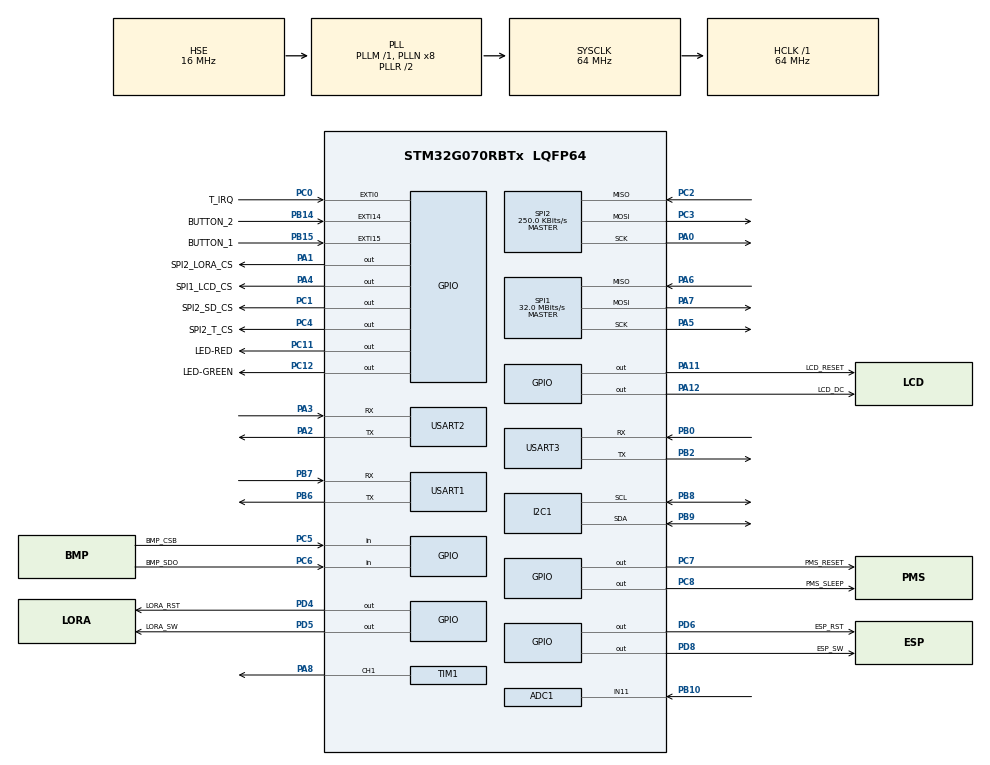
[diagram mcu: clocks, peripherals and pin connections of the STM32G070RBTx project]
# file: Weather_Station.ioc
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ADC1.Channel-1\#ChannelRegularConversion=ADC_CHANNEL_11
ADC1.NbrOfConversionFlag=1
ADC1.Rank-1\#ChannelRegularConversion=1
ADC1.SamplingTime-1\#ChannelRegularConversion=ADC_SAMPLINGTIME_COMMON_1
ADC1.SamplingTimeCommon1=ADC_SAMPLETIME_160CYCLES_5
ADC1.SamplingTimeCommon2=ADC_SAMPLETIME_160CYCLES_5
ADC1.SelectedChannel=ADC_CHANNEL_11
ADC1.master=1
Dma.Request0=USART2_RX
Dma.Request1=USART2_TX
Dma.Request2=SPI1_TX
Dma.SPI1_TX.2.Direction=DMA_MEMORY_TO_PERIPH
Dma.SPI1_TX.2.EventEnable=DISABLE
Dma.SPI1_TX.2.Instance=DMA1_Channel3
Dma.SPI1_TX.2.MemDataAlignment=DMA_MDATAALIGN_BYTE
Dma.SPI1_TX.2.MemInc=DMA_MINC_ENABLE
Dma.SPI1_TX.2.Mode=DMA_NORMAL
Dma.SPI1_TX.2.PeriphDataAlignment=DMA_PDATAALIGN_BYTE
Dma.SPI1_TX.2.PeriphInc=DMA_PINC_DISABLE
Dma.SPI1_TX.2.Polarity=HAL_DMAMUX_REQ_GEN_RISING
Dma.SPI1_TX.2.Priority=DMA_PRIORITY_LOW
Dma.SPI1_TX.2.RequestNumber=1
Dma.SPI1_TX.2.SignalID=NONE
Dma.SPI1_TX.2.SyncEnable=DISABLE
Dma.SPI1_TX.2.SyncPolarity=HAL_DMAMUX_SYNC_NO_EVENT
Dma.SPI1_TX.2.SyncRequestNumber=1
Dma.SPI1_TX.2.SyncSignalID=NONE
Dma.USART2_RX.0.Direction=DMA_PERIPH_TO_MEMORY
Dma.USART2_RX.0.EventEnable=DISABLE
Dma.USART2_RX.0.Instance=DMA1_Channel1
Dma.USART2_RX.0.MemDataAlignment=DMA_MDATAALIGN_BYTE
Dma.USART2_RX.0.MemInc=DMA_MINC_ENABLE
Dma.USART2_RX.0.Mode=DMA_NORMAL
Dma.USART2_RX.0.PeriphDataAlignment=DMA_PDATAALIGN_BYTE
Dma.USART2_RX.0.PeriphInc=DMA_PINC_DISABLE
Dma.USART2_RX.0.Polarity=HAL_DMAMUX_REQ_GEN_RISING
Dma.USART2_RX.0.Priority=DMA_PRIORITY_LOW
Dma.USART2_RX.0.RequestNumber=1
Dma.USART2_RX.0.SignalID=NONE
Dma.USART2_RX.0.SyncEnable=DISABLE
Dma.USART2_RX.0.SyncPolarity=HAL_DMAMUX_SYNC_NO_EVENT
Dma.USART2_RX.0.SyncRequestNumber=1
Dma.USART2_RX.0.SyncSignalID=NONE
Dma.USART2_TX.1.Direction=DMA_MEMORY_TO_PERIPH
Dma.USART2_TX.1.EventEnable=DISABLE
Dma.USART2_TX.1.Instance=DMA1_Channel2
Dma.USART2_TX.1.MemDataAlignment=DMA_MDATAALIGN_BYTE
Dma.USART2_TX.1.MemInc=DMA_MINC_ENABLE
Dma.USART2_TX.1.Mode=DMA_NORMAL
Dma.USART2_TX.1.PeriphDataAlignment=DMA_PDATAALIGN_BYTE
Dma.USART2_TX.1.PeriphInc=DMA_PINC_DISABLE
Dma.USART2_TX.1.Polarity=HAL_DMAMUX_REQ_GEN_RISING
Dma.USART2_TX.1.Priority=DMA_PRIORITY_LOW
Dma.USART2_TX.1.RequestNumber=1
Dma.USART2_TX.1.SignalID=NONE
Dma.USART2_TX.1.SyncEnable=DISABLE
Dma.USART2_TX.1.SyncPolarity=HAL_DMAMUX_SYNC_NO_EVENT
Dma.USART2_TX.1.SyncRequestNumber=1
Dma.USART2_TX.1.SyncSignalID=NONE
FATFS.DISKIO_CODE=0
I2C1.Timing=0x10707DBC
IWDG.Prescaler=IWDG_PRESCALER_256
Mcu.Family=STM32G0
Mcu.Name=STM32G070RBTx
Mcu.Package=LQFP64
NVIC.DMA1_Channel1_IRQn=true\:0\:0\:false\:false\:true\:false\:true\:true
NVIC.DMA1_Channel2_3_IRQn=true\:0\:0\:false\:false\:true\:false\:true\:true
NVIC.EXTI0_1_IRQn=true\:0\:0\:false\:false\:true\:true\:true\:true
NVIC.EXTI4_15_IRQn=true\:0\:0\:false\:false\:true\:true\:true\:true
NVIC.SPI1_IRQn=true\:0\:0\:false\:false\:true\:true\:true\:true
NVIC.TIM6_IRQn=true\:0\:0\:false\:false\:true\:true\:true\:true
NVIC.USART2_IRQn=true\:0\:0\:false\:false\:true\:true\:true\:true
PA0.GPIO_PuPd=GPIO_PULLUP
PA0.GPIO_Speed=GPIO_SPEED_FREQ_VERY_HIGH
PA0.Mode=Full_Duplex_Master
PA0.Signal=SPI2_SCK
PA1.GPIO_Label=SPI2_LORA_CS
PA1.Signal=GPIO_Output
PA11\ [PA9].GPIO_Label=LCD_RESET
PA11\ [PA9].Signal=GPIO_Output
PA12\ [PA10].GPIO_Label=LCD_DC
PA12\ [PA10].Signal=GPIO_Output
PA13.Mode=Serial_Wire
PA13.Signal=SYS_SWDIO
PA14-BOOT0.Mode=Serial_Wire
PA14-BOOT0.Signal=SYS_SWCLK
PA2.Mode=Asynchronous
PA2.Signal=USART2_TX
PA3.Mode=Asynchronous
PA3.Signal=USART2_RX
PA4.GPIO_Label=SPI1_LCD_CS
PA4.Signal=GPIO_Output
PA5.GPIO_PuPd=GPIO_PULLUP
PA5.GPIO_Speed=GPIO_SPEED_FREQ_VERY_HIGH
PA5.Mode=Full_Duplex_Master
PA5.Signal=SPI1_SCK
PA6.GPIO_PuPd=GPIO_PULLUP
PA6.GPIO_Speed=GPIO_SPEED_FREQ_VERY_HIGH
PA6.Mode=Full_Duplex_Master
PA6.Signal=SPI1_MISO
PA7.GPIO_PuPd=GPIO_PULLUP
PA7.GPIO_Speed=GPIO_SPEED_FREQ_VERY_HIGH
PA7.Mode=Full_Duplex_Master
PA7.Signal=SPI1_MOSI
PA8.Signal=S_TIM1_CH1
PB0.Mode=Asynchronous
PB0.Signal=USART3_RX
PB10.Mode=IN11
PB10.Signal=ADC1_IN11
PB14.GPIO_Label=BUTTON_2
PB14.GPIO_ModeDefaultEXTI=GPIO_MODE_IT_FALLING
PB14.Signal=GPXTI14
PB15.GPIO_Label=BUTTON_1
PB15.GPIO_ModeDefaultEXTI=GPIO_MODE_IT_FALLING
PB15.Signal=GPXTI15
PB2.Mode=Asynchronous
PB2.Signal=USART3_TX
PB6.Mode=Asynchronous
PB6.Signal=USART1_TX
PB7.Mode=Asynchronous
PB7.Signal=USART1_RX
PB8.Mode=I2C
PB8.Signal=I2C1_SCL
PB9.Mode=I2C
PB9.Signal=I2C1_SDA
PC0.GPIO_Label=T_IRQ
PC0.Signal=GPXTI0
PC1.GPIO_Label=SPI2_SD_CS
PC1.Signal=GPIO_Output
PC11.GPIO_Label=LED-RED
PC11.Signal=GPIO_Output
PC12.GPIO_Label=LED-GREEN
PC12.Signal=GPIO_Output
PC14-OSC32_IN\ (PC14).Mode=LSE-External-Oscillator
PC14-OSC32_IN\ (PC14).Signal=RCC_OSC32_IN
PC15-OSC32_OUT\ (PC15).Mode=LSE-External-Oscillator
PC15-OSC32_OUT\ (PC15).Signal=RCC_OSC32_OUT
PC2.GPIO_PuPd=GPIO_PULLUP
PC2.GPIO_Speed=GPIO_SPEED_FREQ_VERY_HIGH
PC2.Mode=Full_Duplex_Master
PC2.Signal=SPI2_MISO
PC3.GPIO_PuPd=GPIO_PULLUP
PC3.GPIO_Speed=GPIO_SPEED_FREQ_VERY_HIGH
PC3.Mode=Full_Duplex_Master
PC3.Signal=SPI2_MOSI
PC4.GPIO_Label=SPI2_T_CS
PC4.Signal=GPIO_Output
PC5.GPIO_Label=BMP_CSB
PC5.Signal=GPIO_Input
PC6.GPIO_Label=BMP_SDO
PC6.Signal=GPIO_Input
PC7.GPIO_Label=PMS_RESET
PC7.Signal=GPIO_Output
PC8.GPIO_Label=PMS_SLEEP
PC8.Signal=GPIO_Output
PD4.GPIO_Label=LORA_RST
PD4.Signal=GPIO_Output
PD5.GPIO_Label=LORA_SW
PD5.Signal=GPIO_Output
PD6.GPIO_Label=ESP_RST
PD6.Signal=GPIO_Output
PD8.GPIO_Label=ESP_SW
PD8.Signal=GPIO_Output
PF0-OSC_IN\ (PF0).Mode=HSE-External-Oscillator
PF0-OSC_IN\ (PF0).Signal=RCC_OSC_IN
PF1-OSC_OUT\ (PF1).Mode=HSE-External-Oscillator
PF1-OSC_OUT\ (PF1).Signal=RCC_OSC_OUT
ProjectManager.HeapSize=0x200
ProjectManager.StackSize=0x400
ProjectManager.TargetToolchain=STM32CubeIDE
RCC.ADCFreq_Value=64000000
RCC.AHBFreq_Value=64000000
RCC.CortexFreq_Value=64000000
RCC.EXTERNAL_CLOCK_VALUE=48000
RCC.HCLKFreq_Value=64000000
RCC.HSE_VALUE=16000000
RCC.HSI_VALUE=16000000
RCC.PLLSourceVirtual=RCC_PLLSOURCE_HSE
RCC.RTCClockSelection=RCC_RTCCLKSOURCE_LSE
RCC.SYSCLKFreq_VALUE=64000000
RCC.SYSCLKSource=RCC_SYSCLKSOURCE_PLLCLK
RCC.VCOOutputFreq_Value=128000000
RTC.Date=7
RTC.Format=RTC_FORMAT_BIN
RTC.Hours=18
RTC.Minutes=10
RTC.Month=RTC_MONTH_JANUARY
RTC.Seconds=20
RTC.WeekDay=RTC_WEEKDAY_SATURDAY
RTC.Year=23
SH.S_TIM1_CH1.0=TIM1_CH1,PWM Generation1 CH1
SPI1.BaudRatePrescaler=SPI_BAUDRATEPRESCALER_2
SPI1.CalculateBaudRate=32.0 MBits/s
SPI1.DataSize=SPI_DATASIZE_8BIT
SPI1.Direction=SPI_DIRECTION_2LINES
SPI1.Mode=SPI_MODE_MASTER
SPI1.NSSPMode=SPI_NSS_PULSE_DISABLE
SPI1.VirtualType=VM_MASTER
SPI2.BaudRatePrescaler=SPI_BAUDRATEPRESCALER_256
SPI2.CalculateBaudRate=250.0 KBits/s
SPI2.DataSize=SPI_DATASIZE_8BIT
SPI2.Direction=SPI_DIRECTION_2LINES
SPI2.Mode=SPI_MODE_MASTER
SPI2.VirtualType=VM_MASTER
TIM1.Channel-PWM\ Generation1\ CH1=TIM_CHANNEL_1
TIM1.Period=1000-1
TIM1.Prescaler=64-1
TIM1.Pulse-PWM\ Generation1\ CH1=60
TIM6.Period=99
TIM6.Prescaler=639
USART1.VirtualMode-Asynchronous=VM_ASYNC
USART2.SwapParam=ADVFEATURE_SWAP_DISABLE
USART2.VirtualMode-Asynchronous=VM_ASYNC
USART3.VirtualMode-Asynchronous=VM_ASYNC
VP_FATFS_VS_Generic.Mode=User_defined
VP_IWDG_VS_IWDG.Mode=IWDG_Activate
VP_RTC_VS_RTC_Activate.Mode=RTC_Enabled
VP_RTC_VS_RTC_Calendar.Mode=RTC_Calendar
VP_TIM1_VS_ClockSourceINT.Mode=Internal
VP_TIM6_VS_ClockSourceINT.Mode=Enable_Timer
board=custom

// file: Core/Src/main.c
/* USER CODE BEGIN Header */
/**
 ******************************************************************************
 * @file           : main.c
 * @brief          : Main program body
 ******************************************************************************
 * @attention
 *
 * Copyright (c) 2022 STMicroelectronics.
 * All rights reserved.
 *
 * This software is licensed under terms that can be found in the LICENSE file
 * in the root directory of this software component.
 * If no LICENSE file comes with this software, it is provided AS-IS.
 *
 ******************************************************************************
 */
/* USER CODE END Header */
#include "main.h"
#include "app_fatfs.h"

/* USER CODE BEGIN Includes */

#include "string.h"
#include "LCDFrontend.h"
#include "JSONParseSimple.h"
#include "SoftwareTimers.h"
#include "InsideSensor.h"
#include "ESP8266.h"
#include "OpenWeatherData.h"
#include "DateAndTime.h"
#include "LCDBrightness.h"
#include "SDCardIcon.h"
#include "ILI9341_STM32_Driver.h"
#include "ILI9341_GFX.h"
#include "SystemState.h"
#include "ESP8266Config.h"
#include "SDCardConfig.h"
#include "ESP8266_NTP.h"

/* USER CODE END Includes */

ADC_HandleTypeDef hadc1;

I2C_HandleTypeDef hi2c1;

IWDG_HandleTypeDef hiwdg;

RTC_HandleTypeDef hrtc;

SPI_HandleTypeDef hspi1;
SPI_HandleTypeDef hspi2;
DMA_HandleTypeDef hdma_spi1_tx;

TIM_HandleTypeDef htim1;
TIM_HandleTypeDef htim6;

UART_HandleTypeDef huart1;
UART_HandleTypeDef huart2;
UART_HandleTypeDef huart3;
DMA_HandleTypeDef hdma_usart2_rx;
DMA_HandleTypeDef hdma_usart2_tx;

/* USER CODE BEGIN PV */

SoftwareTimer InsideSensorTimer = { 0 };
SoftwareTimer LCDFrontendTimer = { 0 };
SoftwareTimer ESPStepErrorTimer = { 0 };
SoftwareTimer RTCPeriodTimer = { 0 };
SoftwareTimer LCDBrightnessTimer = { 0 };
SoftwareTimer FotoSensorTimer = { 0 };
SoftwareTimer ESPGetDataTimer = { 0 };

SoftwareTimer LCDDebugTimer = { 0 };

/* USER CODE END PV */

void SystemClock_Config(void);
static void MX_GPIO_Init(void);
static void MX_DMA_Init(void);
static void MX_ADC1_Init(void);
static void MX_I2C1_Init(void);
static void MX_SPI1_Init(void);
static void MX_SPI2_Init(void);
static void MX_USART1_UART_Init(void);
static void MX_USART2_UART_Init(void);
static void MX_USART3_UART_Init(void);
static void MX_TIM6_Init(void);
static void MX_RTC_Init(void);
static void MX_TIM1_Init(void);
static void MX_IWDG_Init(void);

int main(void)
{

  /* MCU Configuration--------------------------------------------------------*/

  /* Reset of all peripherals, Initializes the Flash interface and the Systick. */
  HAL_Init();

  /* Configure the system clock */
  SystemClock_Config();

  /* Initialize all configured peripherals */
  MX_GPIO_Init();
  MX_DMA_Init();
  MX_ADC1_Init();
  MX_I2C1_Init();
  MX_SPI1_Init();
  MX_SPI2_Init();
  MX_USART1_UART_Init();
  MX_USART2_UART_Init();
  MX_USART3_UART_Init();
  MX_TIM6_Init();
  MX_RTC_Init();
  MX_TIM1_Init();
  if (MX_FATFS_Init() != APP_OK) {
    Error_Handler();
  }
  MX_IWDG_Init();
  /* USER CODE BEGIN 2 */
    SoftwareTimer_Init();
    ESP8266_Init();
    LCDBrightness_Init();
    InsideSensor_Init();
    LCDFrontend_Init();
    SDCardConfig_Init();

    StartAndResetTimer(&InsideSensorTimer);
    StartAndResetTimer(&LCDFrontendTimer);
    StartAndResetTimer(&RTCPeriodTimer);
    StartAndResetTimer(&LCDBrightnessTimer);
    StartAndResetTimer(&FotoSensorTimer);
    StartAndResetTimer(&ESPGetDataTimer);
    StartAndResetTimer(&LCDDebugTimer);

    ESP8266NTP_SetTimeRequestFlag(FLAG_SET);
    InsideSensor_ExternalMeasRequest();

    HAL_GPIO_WritePin(SPI2_T_CS_GPIO_Port, SPI2_T_CS_Pin, GPIO_PIN_SET);
    __HAL_DMA_DISABLE_IT(&hdma_usart2_rx, DMA_IT_HT);
    __HAL_UART_ENABLE_IT(&huart2, UART_IT_IDLE);

  /* USER CODE END 2 */

  /* Infinite loop */
  /* USER CODE BEGIN WHILE */
    while(1)
    {
        HAL_IWDG_Refresh(&hiwdg);
        if(SystemState_GetState() == SYSTEM_NORMAL)
        {
            CheckActualDateAfterRestart();
            ReadDateAndTime(&RTCPeriodTimer);
            InsideSensor_IndoorMeasurement(&InsideSensorTimer);
            LCDFrontend_DrawInterface(&LCDFrontendTimer);
            ESP8266_MachineState(&ESPGetDataTimer, &ESPStepErrorTimer, &LCDDebugTimer);
            LCDBrightness_BrightnessControl(&LCDBrightnessTimer);
            LCDBrigtness_LightSensorMeas(&FotoSensorTimer);
            HAL_GPIO_WritePin(LED_GREEN_GPIO_Port, LED_GREEN_Pin, GPIO_PIN_RESET);
        }
        else if(SystemState_GetState() == SYSTEM_CONFIG)
        {
            LCDFrontend_DrawConfigInterface(&LCDFrontendTimer);
            ESP8266Config_MachineState(&ESPGetDataTimer, &ESPStepErrorTimer, &LCDDebugTimer);
            LCDBrightness_BrightnessControl(&LCDBrightnessTimer);
            LCDBrigtness_LightSensorMeas(&FotoSensorTimer);
            HAL_GPIO_WritePin(LED_GREEN_GPIO_Port, LED_GREEN_Pin, GPIO_PIN_SET);
        }
    /* USER CODE END WHILE */

    }
}

void SystemClock_Config(void)
{
  RCC_OscInitTypeDef RCC_OscInitStruct = {0};
  RCC_ClkInitTypeDef RCC_ClkInitStruct = {0};

  /** Configure the main internal regulator output voltage
  */
  HAL_PWREx_ControlVoltageScaling(PWR_REGULATOR_VOLTAGE_SCALE1);

  /** Configure LSE Drive Capability
  */
  HAL_PWR_EnableBkUpAccess();
  __HAL_RCC_LSEDRIVE_CONFIG(RCC_LSEDRIVE_LOW);

  /** Initializes the RCC Oscillators according to the specified parameters
  * in the RCC_OscInitTypeDef structure.
  */
  RCC_OscInitStruct.OscillatorType = RCC_OSCILLATORTYPE_LSI|RCC_OSCILLATORTYPE_HSE
                              |RCC_OSCILLATORTYPE_LSE;
  RCC_OscInitStruct.HSEState = RCC_HSE_ON;
  RCC_OscInitStruct.LSEState = RCC_LSE_ON;
  RCC_OscInitStruct.LSIState = RCC_LSI_ON;
  RCC_OscInitStruct.PLL.PLLState = RCC_PLL_ON;
  RCC_OscInitStruct.PLL.PLLSource = RCC_PLLSOURCE_HSE;
  RCC_OscInitStruct.PLL.PLLM = RCC_PLLM_DIV1;
  RCC_OscInitStruct.PLL.PLLN = 8;
  RCC_OscInitStruct.PLL.PLLP = RCC_PLLP_DIV2;
  RCC_OscInitStruct.PLL.PLLR = RCC_PLLR_DIV2;
  if (HAL_RCC_OscConfig(&RCC_OscInitStruct) != HAL_OK)
  {
    Error_Handler();
  }

  /** Initializes the CPU, AHB and APB buses clocks
  */
  RCC_ClkInitStruct.ClockType = RCC_CLOCKTYPE_HCLK|RCC_CLOCKTYPE_SYSCLK
                              |RCC_CLOCKTYPE_PCLK1;
  RCC_ClkInitStruct.SYSCLKSource = RCC_SYSCLKSOURCE_PLLCLK;
  RCC_ClkInitStruct.AHBCLKDivider = RCC_SYSCLK_DIV1;
  RCC_ClkInitStruct.APB1CLKDivider = RCC_HCLK_DIV1;

  if (HAL_RCC_ClockConfig(&RCC_ClkInitStruct, FLASH_LATENCY_2) != HAL_OK)
  {
    Error_Handler();
  }
}

static void MX_ADC1_Init(void)
{

  ADC_ChannelConfTypeDef sConfig = {0};

  /** Configure the global features of the ADC (Clock, Resolution, Data Alignment and number of conversion)
  */
  hadc1.Instance = ADC1;
  hadc1.Init.ClockPrescaler = ADC_CLOCK_SYNC_PCLK_DIV2;
  hadc1.Init.Resolution = ADC_RESOLUTION_12B;
  hadc1.Init.DataAlign = ADC_DATAALIGN_RIGHT;
  hadc1.Init.ScanConvMode = ADC_SCAN_DISABLE;
  hadc1.Init.EOCSelection = ADC_EOC_SINGLE_CONV;
  hadc1.Init.LowPowerAutoWait = DISABLE;
  hadc1.Init.LowPowerAutoPowerOff = DISABLE;
  hadc1.Init.ContinuousConvMode = DISABLE;
  hadc1.Init.NbrOfConversion = 1;
  hadc1.Init.DiscontinuousConvMode = DISABLE;
  hadc1.Init.ExternalTrigConv = ADC_SOFTWARE_START;
  hadc1.Init.ExternalTrigConvEdge = ADC_EXTERNALTRIGCONVEDGE_NONE;
  hadc1.Init.DMAContinuousRequests = DISABLE;
  hadc1.Init.Overrun = ADC_OVR_DATA_PRESERVED;
  hadc1.Init.SamplingTimeCommon1 = ADC_SAMPLETIME_160CYCLES_5;
  hadc1.Init.SamplingTimeCommon2 = ADC_SAMPLETIME_160CYCLES_5;
  hadc1.Init.OversamplingMode = DISABLE;
  hadc1.Init.TriggerFrequencyMode = ADC_TRIGGER_FREQ_HIGH;
  if (HAL_ADC_Init(&hadc1) != HAL_OK)
  {
    Error_Handler();
  }

  /** Configure Regular Channel
  */
  sConfig.Channel = ADC_CHANNEL_11;
  sConfig.Rank = ADC_REGULAR_RANK_1;
  sConfig.SamplingTime = ADC_SAMPLINGTIME_COMMON_1;
  if (HAL_ADC_ConfigChannel(&hadc1, &sConfig) != HAL_OK)
  {
    Error_Handler();
  }

}

static void MX_I2C1_Init(void)
{

  hi2c1.Instance = I2C1;
  hi2c1.Init.Timing = 0x10707DBC;
  hi2c1.Init.OwnAddress1 = 0;
  hi2c1.Init.AddressingMode = I2C_ADDRESSINGMODE_7BIT;
  hi2c1.Init.DualAddressMode = I2C_DUALADDRESS_DISABLE;
  hi2c1.Init.OwnAddress2 = 0;
  hi2c1.Init.OwnAddress2Masks = I2C_OA2_NOMASK;
  hi2c1.Init.GeneralCallMode = I2C_GENERALCALL_DISABLE;
  hi2c1.Init.NoStretchMode = I2C_NOSTRETCH_DISABLE;
  if (HAL_I2C_Init(&hi2c1) != HAL_OK)
  {
    Error_Handler();
  }

  /** Configure Analogue filter
  */
  if (HAL_I2CEx_ConfigAnalogFilter(&hi2c1, I2C_ANALOGFILTER_ENABLE) != HAL_OK)
  {
    Error_Handler();
  }

  /** Configure Digital filter
  */
  if (HAL_I2CEx_ConfigDigitalFilter(&hi2c1, 0) != HAL_OK)
  {
    Error_Handler();
  }

}

static void MX_IWDG_Init(void)
{

  hiwdg.Instance = IWDG;
  hiwdg.Init.Prescaler = IWDG_PRESCALER_256;
  hiwdg.Init.Window = 4095;
  hiwdg.Init.Reload = 4095;
  if (HAL_IWDG_Init(&hiwdg) != HAL_OK)
  {
    Error_Handler();
  }

}

static void MX_RTC_Init(void)
{

  RTC_TimeTypeDef sTime = {0};
  RTC_DateTypeDef sDate = {0};

  /** Initialize RTC Only
  */
  hrtc.Instance = RTC;
  hrtc.Init.HourFormat = RTC_HOURFORMAT_24;
  hrtc.Init.AsynchPrediv = 127;
  hrtc.Init.SynchPrediv = 255;
  hrtc.Init.OutPut = RTC_OUTPUT_DISABLE;
  hrtc.Init.OutPutRemap = RTC_OUTPUT_REMAP_NONE;
  hrtc.Init.OutPutPolarity = RTC_OUTPUT_POLARITY_HIGH;
  hrtc.Init.OutPutType = RTC_OUTPUT_TYPE_OPENDRAIN;
  hrtc.Init.OutPutPullUp = RTC_OUTPUT_PULLUP_NONE;
  if (HAL_RTC_Init(&hrtc) != HAL_OK)
  {
    Error_Handler();
  }

  /* USER CODE BEGIN Check_RTC_BKUP */
    //RestoreDateFromBackupRegister();
    return;

  /* USER CODE END Check_RTC_BKUP */

  /** Initialize RTC and set the Time and Date
  */
  sTime.Hours = 18;
  sTime.Minutes = 10;
  sTime.Seconds = 20;
  sTime.SubSeconds = 0;
  sTime.DayLightSaving = RTC_DAYLIGHTSAVING_NONE;
  sTime.StoreOperation = RTC_STOREOPERATION_RESET;
  if (HAL_RTC_SetTime(&hrtc, &sTime, RTC_FORMAT_BIN) != HAL_OK)
  {
    Error_Handler();
  }
  sDate.WeekDay = RTC_WEEKDAY_SATURDAY;
  sDate.Month = RTC_MONTH_JANUARY;
  sDate.Date = 7;
  sDate.Year = 23;

  if (HAL_RTC_SetDate(&hrtc, &sDate, RTC_FORMAT_BIN) != HAL_OK)
  {
    Error_Handler();
  }

}

static void MX_SPI1_Init(void)
{

  /* SPI1 parameter configuration*/
  hspi1.Instance = SPI1;
  hspi1.Init.Mode = SPI_MODE_MASTER;
  hspi1.Init.Direction = SPI_DIRECTION_2LINES;
  hspi1.Init.DataSize = SPI_DATASIZE_8BIT;
  hspi1.Init.CLKPolarity = SPI_POLARITY_LOW;
  hspi1.Init.CLKPhase = SPI_PHASE_1EDGE;
  hspi1.Init.NSS = SPI_NSS_SOFT;
  hspi1.Init.BaudRatePrescaler = SPI_BAUDRATEPRESCALER_2;
  hspi1.Init.FirstBit = SPI_FIRSTBIT_MSB;
  hspi1.Init.TIMode = SPI_TIMODE_DISABLE;
  hspi1.Init.CRCCalculation = SPI_CRCCALCULATION_DISABLE;
  hspi1.Init.CRCPolynomial = 7;
  hspi1.Init.CRCLength = SPI_CRC_LENGTH_DATASIZE;
  hspi1.Init.NSSPMode = SPI_NSS_PULSE_DISABLE;
  if (HAL_SPI_Init(&hspi1) != HAL_OK)
  {
    Error_Handler();
  }

}

static void MX_SPI2_Init(void)
{

  /* SPI2 parameter configuration*/
  hspi2.Instance = SPI2;
  hspi2.Init.Mode = SPI_MODE_MASTER;
  hspi2.Init.Direction = SPI_DIRECTION_2LINES;
  hspi2.Init.DataSize = SPI_DATASIZE_8BIT;
  hspi2.Init.CLKPolarity = SPI_POLARITY_LOW;
  hspi2.Init.CLKPhase = SPI_PHASE_1EDGE;
  hspi2.Init.NSS = SPI_NSS_SOFT;
  hspi2.Init.BaudRatePrescaler = SPI_BAUDRATEPRESCALER_256;
  hspi2.Init.FirstBit = SPI_FIRSTBIT_MSB;
  hspi2.Init.TIMode = SPI_TIMODE_DISABLE;
  hspi2.Init.CRCCalculation = SPI_CRCCALCULATION_DISABLE;
  hspi2.Init.CRCPolynomial = 7;
  hspi2.Init.CRCLength = SPI_CRC_LENGTH_DATASIZE;
  hspi2.Init.NSSPMode = SPI_NSS_PULSE_ENABLE;
  if (HAL_SPI_Init(&hspi2) != HAL_OK)
  {
    Error_Handler();
  }

}

static void MX_TIM1_Init(void)
{

  TIM_ClockConfigTypeDef sClockSourceConfig = {0};
  TIM_MasterConfigTypeDef sMasterConfig = {0};
  TIM_OC_InitTypeDef sConfigOC = {0};
  TIM_BreakDeadTimeConfigTypeDef sBreakDeadTimeConfig = {0};

  htim1.Instance = TIM1;
  htim1.Init.Prescaler = 64-1;
  htim1.Init.CounterMode = TIM_COUNTERMODE_UP;
  htim1.Init.Period = 1000-1;
  htim1.Init.ClockDivision = TIM_CLOCKDIVISION_DIV1;
  htim1.Init.RepetitionCounter = 0;
  htim1.Init.AutoReloadPreload = TIM_AUTORELOAD_PRELOAD_DISABLE;
  if (HAL_TIM_Base_Init(&htim1) != HAL_OK)
  {
    Error_Handler();
  }
  sClockSourceConfig.ClockSource = TIM_CLOCKSOURCE_INTERNAL;
  if (HAL_TIM_ConfigClockSource(&htim1, &sClockSourceConfig) != HAL_OK)
  {
    Error_Handler();
  }
  if (HAL_TIM_PWM_Init(&htim1) != HAL_OK)
  {
    Error_Handler();
  }
  sMasterConfig.MasterOutputTrigger = TIM_TRGO_RESET;
  sMasterConfig.MasterOutputTrigger2 = TIM_TRGO2_RESET;
  sMasterConfig.MasterSlaveMode = TIM_MASTERSLAVEMODE_DISABLE;
  if (HAL_TIMEx_MasterConfigSynchronization(&htim1, &sMasterConfig) != HAL_OK)
  {
    Error_Handler();
  }
  sConfigOC.OCMode = TIM_OCMODE_PWM1;
  sConfigOC.Pulse = 60;
  sConfigOC.OCPolarity = TIM_OCPOLARITY_HIGH;
  sConfigOC.OCNPolarity = TIM_OCNPOLARITY_HIGH;
  sConfigOC.OCFastMode = TIM_OCFAST_DISABLE;
  sConfigOC.OCIdleState = TIM_OCIDLESTATE_RESET;
  sConfigOC.OCNIdleState = TIM_OCNIDLESTATE_RESET;
  if (HAL_TIM_PWM_ConfigChannel(&htim1, &sConfigOC, TIM_CHANNEL_1) != HAL_OK)
  {
    Error_Handler();
  }
  sBreakDeadTimeConfig.OffStateRunMode = TIM_OSSR_DISABLE;
  sBreakDeadTimeConfig.OffStateIDLEMode = TIM_OSSI_DISABLE;
  sBreakDeadTimeConfig.LockLevel = TIM_LOCKLEVEL_OFF;
  sBreakDeadTimeConfig.DeadTime = 0;
  sBreakDeadTimeConfig.BreakState = TIM_BREAK_DISABLE;
  sBreakDeadTimeConfig.BreakPolarity = TIM_BREAKPOLARITY_HIGH;
  sBreakDeadTimeConfig.BreakFilter = 0;
  sBreakDeadTimeConfig.BreakAFMode = TIM_BREAK_AFMODE_INPUT;
  sBreakDeadTimeConfig.Break2State = TIM_BREAK2_DISABLE;
  sBreakDeadTimeConfig.Break2Polarity = TIM_BREAK2POLARITY_HIGH;
  sBreakDeadTimeConfig.Break2Filter = 0;
  sBreakDeadTimeConfig.Break2AFMode = TIM_BREAK_AFMODE_INPUT;
  sBreakDeadTimeConfig.AutomaticOutput = TIM_AUTOMATICOUTPUT_DISABLE;
  if (HAL_TIMEx_ConfigBreakDeadTime(&htim1, &sBreakDeadTimeConfig) != HAL_OK)
  {
    Error_Handler();
  }
  HAL_TIM_MspPostInit(&htim1);

}

static void MX_TIM6_Init(void)
{

  TIM_MasterConfigTypeDef sMasterConfig = {0};

  htim6.Instance = TIM6;
  htim6.Init.Prescaler = 639;
  htim6.Init.CounterMode = TIM_COUNTERMODE_UP;
  htim6.Init.Period = 99;
  htim6.Init.AutoReloadPreload = TIM_AUTORELOAD_PRELOAD_DISABLE;
  if (HAL_TIM_Base_Init(&htim6) != HAL_OK)
  {
    Error_Handler();
  }
  sMasterConfig.MasterOutputTrigger = TIM_TRGO_RESET;
  sMasterConfig.MasterSlaveMode = TIM_MASTERSLAVEMODE_DISABLE;
  if (HAL_TIMEx_MasterConfigSynchronization(&htim6, &sMasterConfig) != HAL_OK)
  {
    Error_Handler();
  }

}

static void MX_USART1_UART_Init(void)
{

  huart1.Instance = USART1;
  huart1.Init.BaudRate = 115200;
  huart1.Init.WordLength = UART_WORDLENGTH_8B;
  huart1.Init.StopBits = UART_STOPBITS_1;
  huart1.Init.Parity = UART_PARITY_NONE;
  huart1.Init.Mode = UART_MODE_TX_RX;
  huart1.Init.HwFlowCtl = UART_HWCONTROL_NONE;
  huart1.Init.OverSampling = UART_OVERSAMPLING_16;
  huart1.Init.OneBitSampling = UART_ONE_BIT_SAMPLE_DISABLE;
  huart1.Init.ClockPrescaler = UART_PRESCALER_DIV1;
  huart1.AdvancedInit.AdvFeatureInit = UART_ADVFEATURE_NO_INIT;
  if (HAL_UART_Init(&huart1) != HAL_OK)
  {
    Error_Handler();
  }
  if (HAL_UARTEx_SetTxFifoThreshold(&huart1, UART_TXFIFO_THRESHOLD_1_8) != HAL_OK)
  {
    Error_Handler();
  }
  if (HAL_UARTEx_SetRxFifoThreshold(&huart1, UART_RXFIFO_THRESHOLD_1_8) != HAL_OK)
  {
    Error_Handler();
  }
  if (HAL_UARTEx_DisableFifoMode(&huart1) != HAL_OK)
  {
    Error_Handler();
  }

}

static void MX_USART2_UART_Init(void)
{

  huart2.Instance = USART2;
  huart2.Init.BaudRate = 115200;
  huart2.Init.WordLength = UART_WORDLENGTH_8B;
  huart2.Init.StopBits = UART_STOPBITS_1;
  huart2.Init.Parity = UART_PARITY_NONE;
  huart2.Init.Mode = UART_MODE_TX_RX;
  huart2.Init.HwFlowCtl = UART_HWCONTROL_NONE;
  huart2.Init.OverSampling = UART_OVERSAMPLING_16;
  huart2.Init.OneBitSampling = UART_ONE_BIT_SAMPLE_DISABLE;
  huart2.Init.ClockPrescaler = UART_PRESCALER_DIV1;
  huart2.AdvancedInit.AdvFeatureInit = UART_ADVFEATURE_NO_INIT;
  if (HAL_UART_Init(&huart2) != HAL_OK)
  {
    Error_Handler();
  }
  if (HAL_UARTEx_SetTxFifoThreshold(&huart2, UART_TXFIFO_THRESHOLD_1_8) != HAL_OK)
  {
    Error_Handler();
  }
  if (HAL_UARTEx_SetRxFifoThreshold(&huart2, UART_RXFIFO_THRESHOLD_1_8) != HAL_OK)
  {
    Error_Handler();
  }
  if (HAL_UARTEx_DisableFifoMode(&huart2) != HAL_OK)
  {
    Error_Handler();
  }

}

static void MX_USART3_UART_Init(void)
{

  huart3.Instance = USART3;
  huart3.Init.BaudRate = 115200;
  huart3.Init.WordLength = UART_WORDLENGTH_8B;
  huart3.Init.StopBits = UART_STOPBITS_1;
  huart3.Init.Parity = UART_PARITY_NONE;
  huart3.Init.Mode = UART_MODE_TX_RX;
  huart3.Init.HwFlowCtl = UART_HWCONTROL_NONE;
  huart3.Init.OverSampling = UART_OVERSAMPLING_16;
  huart3.Init.OneBitSampling = UART_ONE_BIT_SAMPLE_DISABLE;
  huart3.Init.ClockPrescaler = UART_PRESCALER_DIV1;
  huart3.AdvancedInit.AdvFeatureInit = UART_ADVFEATURE_NO_INIT;
  if (HAL_UART_Init(&huart3) != HAL_OK)
  {
    Error_Handler();
  }

}

static void MX_DMA_Init(void)
{

  /* DMA controller clock enable */
  __HAL_RCC_DMA1_CLK_ENABLE();

  /* DMA interrupt init */
  /* DMA1_Channel1_IRQn interrupt configuration */
  HAL_NVIC_SetPriority(DMA1_Channel1_IRQn, 0, 0);
  HAL_NVIC_EnableIRQ(DMA1_Channel1_IRQn);
  /* DMA1_Channel2_3_IRQn interrupt configuration */
  HAL_NVIC_SetPriority(DMA1_Channel2_3_IRQn, 0, 0);
  HAL_NVIC_EnableIRQ(DMA1_Channel2_3_IRQn);

}

static void MX_GPIO_Init(void)
{
  GPIO_InitTypeDef GPIO_InitStruct = {0};

  /* GPIO Ports Clock Enable */
  __HAL_RCC_GPIOC_CLK_ENABLE();
  __HAL_RCC_GPIOF_CLK_ENABLE();
  __HAL_RCC_GPIOA_CLK_ENABLE();
  __HAL_RCC_GPIOB_CLK_ENABLE();
  __HAL_RCC_GPIOD_CLK_ENABLE();

  /*Configure GPIO pin Output Level */
  HAL_GPIO_WritePin(GPIOC, LED_RED_Pin|LED_GREEN_Pin|SPI2_SD_CS_Pin|SPI2_T_CS_Pin
                          |PMS_RESET_Pin|PMS_SLEEP_Pin, GPIO_PIN_RESET);

  /*Configure GPIO pin Output Level */
  HAL_GPIO_WritePin(GPIOA, SPI2_LORA_CS_Pin|SPI1_LCD_CS_Pin|LCD_RESET_Pin|LCD_DC_Pin, GPIO_PIN_RESET);

  /*Configure GPIO pin Output Level */
  HAL_GPIO_WritePin(GPIOD, ESP_SW_Pin|LORA_RST_Pin|LORA_SW_Pin|ESP_RST_Pin, GPIO_PIN_RESET);

  /*Configure GPIO pins : LED_RED_Pin LED_GREEN_Pin SPI2_SD_CS_Pin SPI2_T_CS_Pin
                           PMS_RESET_Pin PMS_SLEEP_Pin */
  GPIO_InitStruct.Pin = LED_RED_Pin|LED_GREEN_Pin|SPI2_SD_CS_Pin|SPI2_T_CS_Pin
                          |PMS_RESET_Pin|PMS_SLEEP_Pin;
  GPIO_InitStruct.Mode = GPIO_MODE_OUTPUT_PP;
  GPIO_InitStruct.Pull = GPIO_NOPULL;
  GPIO_InitStruct.Speed = GPIO_SPEED_FREQ_LOW;
  HAL_GPIO_Init(GPIOC, &GPIO_InitStruct);

  /*Configure GPIO pin : T_IRQ_Pin */
  GPIO_InitStruct.Pin = T_IRQ_Pin;
  GPIO_InitStruct.Mode = GPIO_MODE_IT_RISING;
  GPIO_InitStruct.Pull = GPIO_NOPULL;
  HAL_GPIO_Init(T_IRQ_GPIO_Port, &GPIO_InitStruct);

  /*Configure GPIO pins : SPI2_LORA_CS_Pin SPI1_LCD_CS_Pin LCD_RESET_Pin LCD_DC_Pin */
  GPIO_InitStruct.Pin = SPI2_LORA_CS_Pin|SPI1_LCD_CS_Pin|LCD_RESET_Pin|LCD_DC_Pin;
  GPIO_InitStruct.Mode = GPIO_MODE_OUTPUT_PP;
  GPIO_InitStruct.Pull = GPIO_NOPULL;
  GPIO_InitStruct.Speed = GPIO_SPEED_FREQ_LOW;
  HAL_GPIO_Init(GPIOA, &GPIO_InitStruct);

  /*Configure GPIO pins : BMP_CSB_Pin BMP_SDO_Pin */
  GPIO_InitStruct.Pin = BMP_CSB_Pin|BMP_SDO_Pin;
  GPIO_InitStruct.Mode = GPIO_MODE_INPUT;
  GPIO_InitStruct.Pull = GPIO_NOPULL;
  HAL_GPIO_Init(GPIOC, &GPIO_InitStruct);

  /*Configure GPIO pins : BUTTON_2_Pin BUTTON_1_Pin */
  GPIO_InitStruct.Pin = BUTTON_2_Pin|BUTTON_1_Pin;
  GPIO_InitStruct.Mode = GPIO_MODE_IT_FALLING;
  GPIO_InitStruct.Pull = GPIO_NOPULL;
  HAL_GPIO_Init(GPIOB, &GPIO_InitStruct);

  /*Configure GPIO pins : ESP_SW_Pin LORA_RST_Pin LORA_SW_Pin ESP_RST_Pin */
  GPIO_InitStruct.Pin = ESP_SW_Pin|LORA_RST_Pin|LORA_SW_Pin|ESP_RST_Pin;
  GPIO_InitStruct.Mode = GPIO_MODE_OUTPUT_PP;
  GPIO_InitStruct.Pull = GPIO_NOPULL;
  GPIO_InitStruct.Speed = GPIO_SPEED_FREQ_LOW;
  HAL_GPIO_Init(GPIOD, &GPIO_InitStruct);

  /* EXTI interrupt init*/
  HAL_NVIC_SetPriority(EXTI0_1_IRQn, 0, 0);
  HAL_NVIC_EnableIRQ(EXTI0_1_IRQn);

  HAL_NVIC_SetPriority(EXTI4_15_IRQn, 0, 0);
  HAL_NVIC_EnableIRQ(EXTI4_15_IRQn);

}

/* USER CODE BEGIN 4 */

void HAL_UARTEx_RxEventCallback(UART_HandleTypeDef *huart, uint16_t Size)
{
    if(SystemState_GetState() == SYSTEM_NORMAL)
        ESP8266_RxEventCallback(huart, Size);
    else if(SystemState_GetState() == SYSTEM_CONFIG)
        ESP8266Config_RxEventCallback(huart, Size);
}
void HAL_TIM_PeriodElapsedCallback(TIM_HandleTypeDef *htim)
{
    htim=htim;

    CheckActiveAndIncrementTimer(&InsideSensorTimer);
    CheckActiveAndIncrementTimer(&LCDFrontendTimer);
    CheckActiveAndIncrementTimer(&ESPStepErrorTimer);
    CheckActiveAndIncrementTimer(&RTCPeriodTimer);
    CheckActiveAndIncrementTimer(&LCDBrightnessTimer);
    CheckActiveAndIncrementTimer(&FotoSensorTimer);
    CheckActiveAndIncrementTimer(&ESPGetDataTimer);

    CheckActiveAndIncrementTimer(&LCDDebugTimer);
}

void HAL_GPIO_EXTI_Falling_Callback(uint16_t GPIO_Pin)
{
    if(GPIO_Pin == BUTTON_2_Pin)
    {
        SystemState_SetState(SYSTEM_CONFIG);
        LCDFrontend_ConfigSetRefleshFlag();
    }

    if(GPIO_Pin == BUTTON_1_Pin)
    {
        ESP8266_ToggleDebugFlag();
    }

}

/* USER CODE END 4 */

void Error_Handler(void)
{
    __disable_irq();
    while(1)
    {
    }
}
